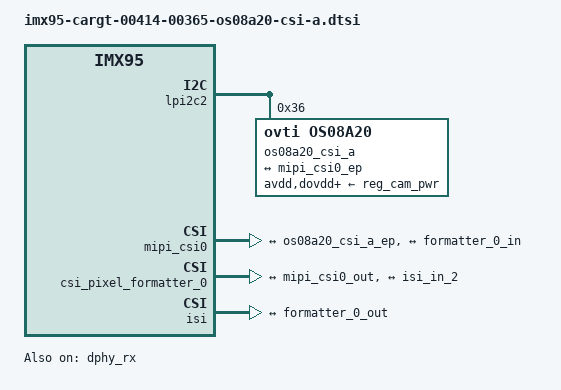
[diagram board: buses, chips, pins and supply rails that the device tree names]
// SPDX-License-Identifier: (GPL-2.0+ OR MIT)
/*
 * Copyright 2026 Cargt
 *
 * OS08A20 at 0x36 on CSI-1 (J21, OSM CSI_A = i.MX 95 MIPI CSI0, 4 lanes):
 * MIPI CSI0 -> CSI pixel formatter 0 -> ISI port 2, as in the NXP
 * imx95-19x19-evk-os08a20 overlay. Include after the -common dtsi.
 */

&lpi2c2 {
	os08a20_csi_a: camera@36 {
		compatible = "ovti,os08a20";
		reg = <0x36>;
		clocks = <&dummy>;
		avdd-supply = <&reg_cam_pwr>;
		dovdd-supply = <&reg_cam_pwr>;
		dvdd-supply = <&reg_cam_pwr>;
		orientation = <2>;
		rotation = <0>;

		port {
			os08a20_csi_a_ep: endpoint {
				remote-endpoint = <&mipi_csi0_ep>;
				data-lanes = <1 2 3 4>;
				clock-lanes = <0>;
			};
		};
	};
};

&dphy_rx {
	status = "okay";
};

&mipi_csi0 {
	status = "okay";

	ports {
		#address-cells = <1>;
		#size-cells = <0>;

		port@0 {
			reg = <0>;

			mipi_csi0_ep: endpoint {
				remote-endpoint = <&os08a20_csi_a_ep>;
				data-lanes = <1 2 3 4>;
				clock-lanes = <0>;
			};
		};

		port@1 {
			reg = <1>;

			mipi_csi0_out: endpoint {
				remote-endpoint = <&formatter_0_in>;
			};
		};
	};
};

&csi_pixel_formatter_0 {
	status = "okay";

	ports {
		#address-cells = <1>;
		#size-cells = <0>;

		port@0 {
			reg = <0>;

			formatter_0_in: endpoint {
				remote-endpoint = <&mipi_csi0_out>;
			};
		};

		port@1 {
			reg = <1>;

			formatter_0_out: endpoint {
				remote-endpoint = <&isi_in_2>;
			};
		};
	};
};

&isi {
	ports {
		#address-cells = <1>;
		#size-cells = <0>;

		port@2 {
			reg = <2>;

			isi_in_2: endpoint {
				remote-endpoint = <&formatter_0_out>;
			};
		};
	};
};
